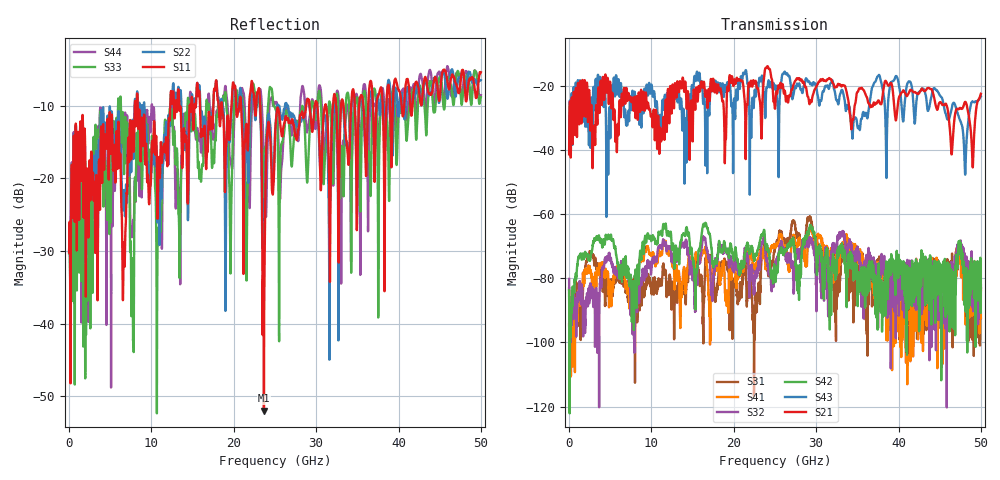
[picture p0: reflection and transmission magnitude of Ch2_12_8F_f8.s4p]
!Agilent Technologies,N5247A,US51170199,A.09.90.13
!Agilent N5247A: A.09.90.13
!Date: Tuesday, December 08, 2015 12:27:27
!Correction: S11(Full 4 Port(1,2,3,4))
!S12(Full 4 Port(1,2,3,4))
!S13(Full 4 Port(1,2,3,4))
!S14(Full 4 Port(1,2,3,4))
!S21(Full 4 Port(1,2,3,4))
!S22(Full 4 Port(1,2,3,4))
!S23(Full 4 Port(1,2,3,4))
!S24(Full 4 Port(1,2,3,4))
!S31(Full 4 Port(1,2,3,4))
!S32(Full 4 Port(1,2,3,4))
!S33(Full 4 Port(1,2,3,4))
!S34(Full 4 Port(1,2,3,4))
!S41(Full 4 Port(1,2,3,4))
!S42(Full 4 Port(1,2,3,4))
!S43(Full 4 Port(1,2,3,4))
!S44(Full 4 Port(1,2,3,4))
!S4P File: Measurements: <S11,S12,S13,S14>,
!<S21,S22,S23,S24>,
!<S31,S32,S33,S34>,
!<S41,S42,S43,S44>:
# Hz S  dB  R 50
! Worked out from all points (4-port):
!   3201 points, 10 MHz to 50 GHz, reference 50 ohm
!   strongest paths, dB at 10 MHz, 12.51 GHz, 25 GHz, 37.5 GHz, 50 GHz:
!     S21: -41.3, -21.8, -27.1, -24.6, -22.4
!     S43: -40.5, -22.4, -20.6, -16.9, -23.3
!     S42: -83.8, -71.1, -79.6, -80.6, -82.1
!     S32: -80.2, -72.6, -76.5, -78.3, -82.8
!     S41: -94.4, -75.5, -69.5, -78.8, -83.7
!     S31: -83.1, -83.8, -70.7, -74.2, -92.4
!   lowest |S11| = -52.0 dB at 23.66 GHz (marker M1), VSWR 1.01, Z = 50.2 - j0.104 ohm
!   |S11| at or under -10 dB: start of sweep to 7.975 GHz; 8.341 GHz to 12.29 GHz (3.949 GHz wide, 38.3 % of centre); 23.21 GHz to 28.79 GHz (5.586 GHz wide, 21.5 % of centre)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
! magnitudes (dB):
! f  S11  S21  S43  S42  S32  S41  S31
! 10 MHz  -30.2  -41.3  -40.5  -83.8  -80.2  -94.4  -83.1
! 22.19 GHz  -6.6  -19.9  -26.8  -70.0  -76.7  -73.0  -86.3
! 23.66 GHz  -52.0  -17.7  -22.0  -64.9  -66.2  -70.7  -69.3
! 25.35 GHz  -10.3  -20.8  -26.7  -77.0  -74.3  -69.2  -68.4
! 39.71 GHz  -6.6  -30.6  -16.9  -80.2  -82.4  -88.1  -82.6
! 48.09 GHz  -8.1  -25.0  -47.7  -89.5  -75.5  -80.1  -78.2
! 50 GHz  -5.4  -22.4  -23.3  -82.1  -82.8  -83.7  -92.4
